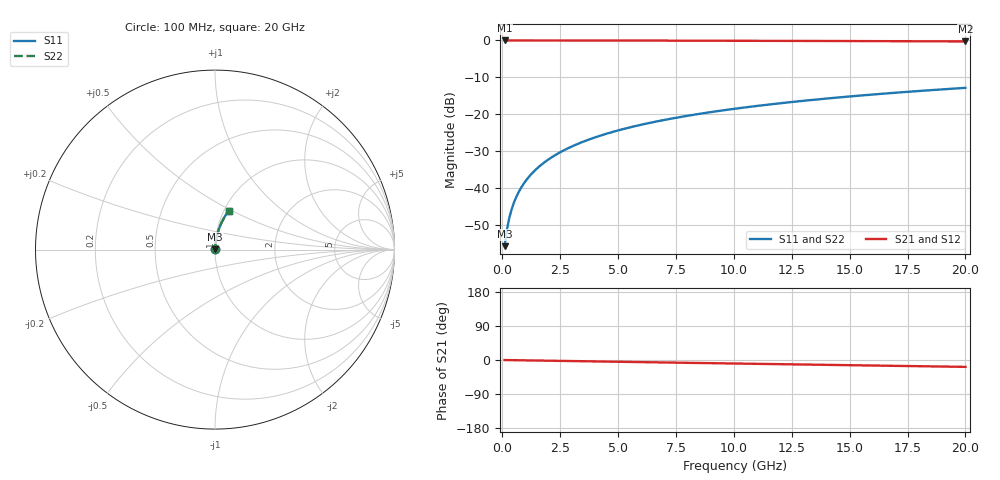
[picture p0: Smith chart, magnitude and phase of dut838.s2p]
! Touchstone file exported from HFSS 2026.1.0
!  File:  C:/ffzhzh/LocalFiles/Ansys_Project_Files/temp_train_BSMRDL_838_1783170334_55132.aedt
!  Generated:  09:06:48 PM Jul  4, 2026
!  Design:  BSMRDL
!  Project:  temp_train_BSMRDL_838_1783170334_55132
! Variables:
!  h_bsmrdl = 5.33um
!  h_ox = 20um
!  h_rdl = 5um
!  h_sub = 80um
!  h_tmrdl = 5um
!  h_tsv = 80um
!  h_via = 3um
!  l_bsmrdl = 187.32um
!  l_sub = 587.32um
!  l_tmrdl = 200um
!  m_sub = 200um
!  pitch = 56.39um
!  r_tsv = 6um
!  s_tmrdl = 10um
!  w_bsmrdl = 13.55um
!  w_sub = 500um
!  w_tmrdl = 12um
!  x_tsv_center1 = 206um
!  x_tsv_center2 = 406.87um
!  x_tsv_center3 = 618.87um
!  x_tsv_center4 = 819.74um
!  x_tsv_center5 = 1031.74um
!  x_tsv_center6 = 1232.61um
# GHz S MA R 50.000000
! Terminal data exported
! Port[1] = BSM_RDL1_1_T1
! Port[2] = BSM_RDL1_1_T2
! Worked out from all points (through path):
!   200 points, 100 MHz to 20 GHz, reference 50 ohm
!   highest |S21| = -0.01 dB at 100 MHz (marker M1); lowest = -0.3 dB at 20 GHz (marker M2)
!   group delay of S21, straight-line fit = 2.52 ps
!   lowest |S11| = -55.8 dB at 100 MHz (marker M3), VSWR 1.00, Z = 50.1 + j0.126 ohm
!   |S11| at or under -10 dB: start of sweep to end of sweep
!   |S22| runs from -55.8 to -12.9 dB; largest |S21 - S12| = 2.1e-15
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0.1  0.001622 50.8  0.999 -0.1  0.999 -0.1  0.001622 50.8
! Gamma 0 0 0 0
! Port Impedance 50 0 50 0
0.2  0.002718 67.2  0.999 -0.2  0.999 -0.2  0.002718 67.2
0.3  0.003896 73.7  0.9989 -0.3  0.9989 -0.3  0.003896 73.7
0.4  0.005093 77.1  0.9989 -0.4  0.9989 -0.4  0.005093 77.1
0.5  0.006294 79.2  0.9989 -0.5  0.9989 -0.5  0.006294 79.2
0.7  0.008704 81.6  0.9988 -0.7  0.9988 -0.7  0.008704 81.6
0.8  0.00991 82.4  0.9987 -0.8  0.9987 -0.8  0.00991 82.4
1  0.01233 83.4  0.9987 -1.0  0.9987 -1.0  0.01233 83.4
1.2  0.01475 84.0  0.9986 -1.1  0.9986 -1.1  0.01475 84.0
1.4  0.01717 84.4  0.9985 -1.3  0.9985 -1.3  0.01717 84.4
1.7  0.0208 84.7  0.9984 -1.6  0.9984 -1.6  0.0208 84.7
2  0.02442 84.8  0.9983 -1.9  0.9983 -1.9  0.02442 84.8
2.7  0.03285 84.7  0.9979 -2.6  0.9979 -2.6  0.03285 84.7
3.5  0.04243 84.3  0.9973 -3.3  0.9973 -3.3  0.04243 84.3
4.2  0.05075 83.8  0.9967 -4.0  0.9967 -4.0  0.05075 83.8
5  0.0602 83.2  0.996 -4.7  0.996 -4.7  0.0602 83.2
6.8  0.08124 81.8  0.994 -6.4  0.994 -6.4  0.08124 81.8
8.3  0.09857 80.5  0.9921 -7.7  0.9921 -7.7  0.09857 80.5
10.1  0.1191 79.0  0.9895 -9.4  0.9895 -9.4  0.1191 79.0
13.4  0.1562 76.3  0.9839 -12.3  0.9839 -12.3  0.1562 76.3
16.7  0.1924 73.5  0.9771 -15.3  0.9771 -15.3  0.1924 73.5
20  0.2274 70.7  0.9691 -18.1  0.9691 -18.1  0.2274 70.7
